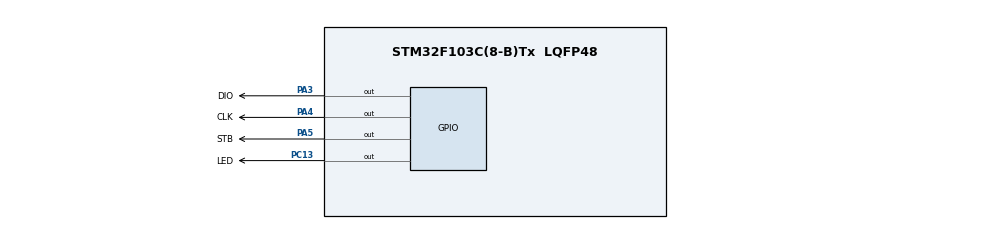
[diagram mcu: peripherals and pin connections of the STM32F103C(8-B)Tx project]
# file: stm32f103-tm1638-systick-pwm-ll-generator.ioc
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Mcu.Family=STM32F1
Mcu.Name=STM32F103C(8-B)Tx
Mcu.Package=LQFP48
NVIC.PriorityGroup=NVIC_PRIORITYGROUP_4
PA13.Mode=Serial_Wire
PA13.Signal=SYS_JTMS-SWDIO
PA14.Mode=Serial_Wire
PA14.Signal=SYS_JTCK-SWCLK
PA3.GPIO_Label=DIO
PA3.Signal=GPIO_Output
PA4.GPIO_Label=CLK
PA4.Signal=GPIO_Output
PA5.GPIO_Label=STB
PA5.Signal=GPIO_Output
PC13-TAMPER-RTC.GPIO_Label=LED
PC13-TAMPER-RTC.Signal=GPIO_Output
PD0-OSC_IN.Mode=HSE-External-Oscillator
PD0-OSC_IN.Signal=RCC_OSC_IN
PD1-OSC_OUT.Mode=HSE-External-Oscillator
PD1-OSC_OUT.Signal=RCC_OSC_OUT
ProjectManager.HeapSize=0x200
ProjectManager.StackSize=0x400
ProjectManager.TargetToolchain=Makefile
RCC.ADCPresc=RCC_ADCPCLK2_DIV6
RCC.AHBFreq_Value=72000000
RCC.APB1CLKDivider=RCC_HCLK_DIV2
RCC.APB1Freq_Value=36000000
RCC.APB1TimFreq_Value=72000000
RCC.APB2Freq_Value=72000000
RCC.APB2TimFreq_Value=72000000
RCC.HCLKFreq_Value=72000000
RCC.PLLMUL=RCC_PLL_MUL9
RCC.PLLSourceVirtual=RCC_PLLSOURCE_HSE
RCC.SYSCLKFreq_VALUE=72000000
RCC.SYSCLKSource=RCC_SYSCLKSOURCE_PLLCLK
RCC.USBFreq_Value=72000000
board=tm1638

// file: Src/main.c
/* USER CODE BEGIN Header */
/**
 * simple pwm generator from 300 uno_second to 100 millisecond and more
 * using SysTick timer only
 * the only experiment using SysTick timer
**/
/**
  ******************************************************************************
  * @file           : main.c
  * @brief          : Main program body
  ******************************************************************************
  * @attention
  *
  * <h2><center>&copy; Copyright (c) 2020 STMicroelectronics.
  * All rights reserved.</center></h2>
  *
  * This software component is licensed by ST under BSD 3-Clause license,
  * the "License"; You may not use this file except in compliance with the
  * License. You may obtain a copy of the License at:
  *                        opensource.org/licenses/BSD-3-Clause
  *
  ******************************************************************************
  */
/* USER CODE END Header */
#include "main.h"
#include "gpio.h"

/* USER CODE BEGIN Includes */
#include "stm32_tick.h"
#include "TM1638Lib.h"
// #include "TM1638.h"
#include "gpio_pin.h"

/* USER CODE END Includes */

/* USER CODE BEGIN PV */
/* Private variables ---------------------------------------------------------*/

/* USER CODE END PV */

void SystemClock_Config(void);
/* USER CODE BEGIN PFP */
/* Private function prototypes -----------------------------------------------*/

/* USER CODE END PFP */

/* USER CODE BEGIN 0 */

int16_t key_old;
int16_t key_new;
uint16_t update_tim_period=50;
volatile uint32_t clk_counter;
volatile uint16_t duty_cycle = 50;

// #pragma GCC push_options
// #pragma GCC optimize("O3")
void SYSTICK_callback(void)
{
  static volatile uint64_t pwm_counter;
  static volatile uint32_t this_counter;
  ++this_counter;

  if(!pwm_counter) ticks_set(0); // start chronometry

  if(this_counter > update_tim_period)
  {
    this_counter = 0;
    ++pwm_counter;
    if(pwm_counter > 99)
    {
        pwm_counter = 0;
        clk_counter = ticks_get(); // read chronometry
    }
  }

  if(pwm_counter < duty_cycle)
  {
    GPIO_Pin_Clear(GPIOC, 13);
  }
  else
  {
    GPIO_Pin_Set(GPIOC, 13);
  }
}
// #pragma GCC pop_options

/**
 * it is clocked from system quanta of rtos
 * width base quants_base for example is 100 quanta
 */
void soft_pwm(GPIO_TypeDef *GPIOx, uint32_t Pin, uint16_t duty_cycle, uint16_t quants_base)
{
  LL_mDelay(duty_cycle);
  LL_GPIO_ResetOutputPin(GPIOx, Pin);

  LL_mDelay(quants_base-duty_cycle);
  LL_GPIO_SetOutputPin(GPIOx, Pin);
}

/* USER CODE END 0 */

int main(void)
{

  /* MCU Configuration--------------------------------------------------------*/

  /* Reset of all peripherals, Initializes the Flash interface and the Systick. */

  LL_APB2_GRP1_EnableClock(LL_APB2_GRP1_PERIPH_AFIO);
  LL_APB1_GRP1_EnableClock(LL_APB1_GRP1_PERIPH_PWR);

  NVIC_SetPriorityGrouping(NVIC_PRIORITYGROUP_4);

  /* System interrupt init*/

  /** NOJTAG: JTAG-DP Disabled and SW-DP Enabled
  */
  LL_GPIO_AF_Remap_SWJ_NOJTAG();

  /* Configure the system clock */
  SystemClock_Config();

  /* USER CODE BEGIN SysInit */
  SysTick_config(105); // 116 (140); // value(352) = 1usec
  /* USER CODE END SysInit */

  /* Initialize all configured peripherals */
  MX_GPIO_Init();
  /* USER CODE BEGIN 2 */
  // HAL_TIM_Base_Init(&htim4);
  // HAL_TIM_PeriodElapsedCallback(&htim4);
  // HAL_TIM_Base_Start_IT(&htim4); // timer run
  /* USER CODE END 2 */

  /* Infinite loop */
  /* USER CODE BEGIN WHILE */

  ticks_init();

  TM1638_indicate(12345678);
  LL_mDelay(123456);

  // displayFloat(88226.135,3);
  // LL_mDelay(523456);
  // setDigital(2,9);
  // setDigital(1,5);
  // LL_mDelay(323456);
  // key_new = Read_Key();
  // displayInt(duty_cycle*1e6L+(clk_counter/71.25f));

  while (1)
  {
    key_new = ReadKey();

    if(key_new)
    {
      // HAL_TIM_Base_Stop(&htim4);
      // HAL_TIM_Base_Stop_IT(&htim4);
    }

    if(key_new&&(key_new!=13)&&(key_new!=14)&&(key_new!=15)&&(key_new!=16))
    {
      key_old=key_new;
      update_tim_period = key_old*50;
    }

    if(key_new==13)
    {
      key_old--;
      duty_cycle--;
    }

    if(key_new==14)
    {
      key_old++;
      duty_cycle++;
    }

    if(key_new==15)
    {
      key_old--;
      update_tim_period--;
      if(update_tim_period<1)
         update_tim_period=1;
    }

    if(key_new==16)
    {
      key_old++;
      update_tim_period++;
    }

    if(key_old <= 1) key_old = 1;
    if(key_old > 299) key_old = 300;

    if(duty_cycle <= 1) duty_cycle = 1;
    if(duty_cycle >= 99) duty_cycle = 99;

    LL_mDelay(23550);

    // multiplicate duty_cycle and time period for show on one display
    TM1638_indicate_two(duty_cycle*1e6L+(clk_counter/100.0f)*1.40f);

    key_new = 0;

    // TIM4_reinit();
    // HAL_TIM_Base_Init(&htim4);
    // HAL_TIM_Base_Start_IT(&htim4); // timer run

    /* USER CODE END WHILE */

  }
}

void SystemClock_Config(void)
{
  LL_FLASH_SetLatency(LL_FLASH_LATENCY_2);
  while(LL_FLASH_GetLatency()!= LL_FLASH_LATENCY_2)
  {
  }
  LL_RCC_HSE_Enable();

   /* Wait till HSE is ready */
  while(LL_RCC_HSE_IsReady() != 1)
  {

  }
  LL_RCC_PLL_ConfigDomain_SYS(LL_RCC_PLLSOURCE_HSE_DIV_1, LL_RCC_PLL_MUL_9);
  LL_RCC_PLL_Enable();

   /* Wait till PLL is ready */
  while(LL_RCC_PLL_IsReady() != 1)
  {

  }
  LL_RCC_SetAHBPrescaler(LL_RCC_SYSCLK_DIV_1);
  LL_RCC_SetAPB1Prescaler(LL_RCC_APB1_DIV_2);
  LL_RCC_SetAPB2Prescaler(LL_RCC_APB2_DIV_1);
  LL_RCC_SetSysClkSource(LL_RCC_SYS_CLKSOURCE_PLL);

   /* Wait till System clock is ready */
  while(LL_RCC_GetSysClkSource() != LL_RCC_SYS_CLKSOURCE_STATUS_PLL)
  {

  }
  LL_Init1msTick(72000000);
  LL_SetSystemCoreClock(72000000);
}

void Error_Handler(void)
{
  while(1)
  {
  }
}

/************************ (C) COPYRIGHT STMicroelectronics *****END OF FILE****/
